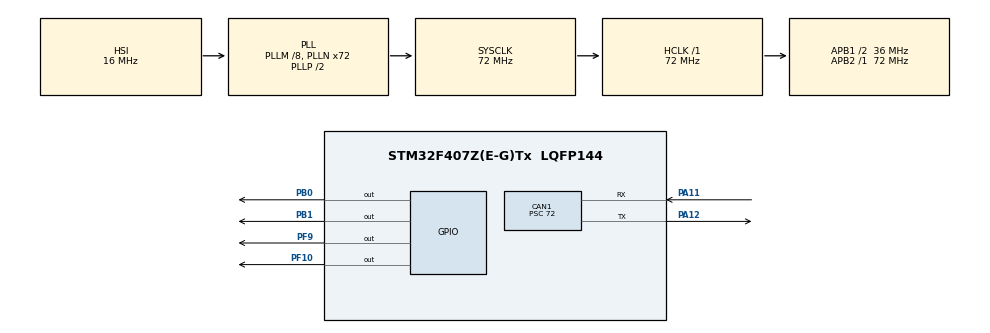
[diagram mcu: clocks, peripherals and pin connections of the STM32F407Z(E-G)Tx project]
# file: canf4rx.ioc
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CAN1.BS1=CAN_BS1_2TQ
CAN1.CalculateBaudRate=125000
CAN1.CalculateTimeBit=8000
CAN1.CalculateTimeQuantum=2000.0
CAN1.Prescaler=72
Mcu.Family=STM32F4
Mcu.Name=STM32F407Z(E-G)Tx
Mcu.Package=LQFP144
NVIC.CAN1_RX1_IRQn=true\:0\:0\:false\:false\:true\:true\:true\:true
NVIC.PriorityGroup=NVIC_PRIORITYGROUP_4
PA11.Mode=CAN_Activate
PA11.Signal=CAN1_RX
PA12.Mode=CAN_Activate
PA12.Signal=CAN1_TX
PA13.Mode=Serial_Wire
PA13.Signal=SYS_JTMS-SWDIO
PA14.Mode=Serial_Wire
PA14.Signal=SYS_JTCK-SWCLK
PB0.Signal=GPIO_Output
PB1.Signal=GPIO_Output
PF10.Signal=GPIO_Output
PF9.Signal=GPIO_Output
PH0-OSC_IN.Mode=HSE-External-Oscillator
PH0-OSC_IN.Signal=RCC_OSC_IN
PH1-OSC_OUT.Mode=HSE-External-Oscillator
PH1-OSC_OUT.Signal=RCC_OSC_OUT
ProjectManager.HeapSize=0x200
ProjectManager.StackSize=0x400
ProjectManager.TargetToolchain=STM32CubeIDE
RCC.48MHZClocksFreq_Value=36000000
RCC.AHBFreq_Value=72000000
RCC.APB1CLKDivider=RCC_HCLK_DIV2
RCC.APB1Freq_Value=36000000
RCC.APB1TimFreq_Value=72000000
RCC.APB2Freq_Value=72000000
RCC.APB2TimFreq_Value=72000000
RCC.CortexFreq_Value=72000000
RCC.HCLKFreq_Value=72000000
RCC.HSE_VALUE=25000000
RCC.HSI_VALUE=16000000
RCC.LSE_VALUE=32768
RCC.PLLM=8
RCC.PLLN=72
RCC.SYSCLKFreq_VALUE=72000000
RCC.SYSCLKSource=RCC_SYSCLKSOURCE_PLLCLK
RCC.VCOOutputFreq_Value=144000000
board=custom

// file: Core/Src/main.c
/* USER CODE BEGIN Header */
/**
  ******************************************************************************
  * @file           : main.c
  * @brief          : Main program body
  ******************************************************************************
  * @attention
  *
  * Copyright (c) 2024 STMicroelectronics.
  * All rights reserved.
  *
  * This software is licensed under terms that can be found in the LICENSE file
  * in the root directory of this software component.
  * If no LICENSE file comes with this software, it is provided AS-IS.
  *
  ******************************************************************************
  */
/* USER CODE END Header */
#include "main.h"

CAN_HandleTypeDef hcan1;

void SystemClock_Config(void);
static void MX_GPIO_Init(void);
static void MX_CAN1_Init(void);

/* USER CODE BEGIN 0 */
CAN_FilterTypeDef sFilterConfig;
CAN_RxHeaderTypeDef RxHeader;
uint8_t RxData[8];
uint8_t delayLED;
void HAL_CAN_RxFifo1MsgPendingCallback(CAN_HandleTypeDef *hcan)
{
  HAL_CAN_GetRxMessage(hcan, CAN_RX_FIFO1, &RxHeader, RxData);
  delayLED = RxData[7];
}
/* USER CODE END 0 */

int main(void)
{

  /* MCU Configuration--------------------------------------------------------*/

  /* Reset of all peripherals, Initializes the Flash interface and the Systick. */
  HAL_Init();

  /* Configure the system clock */
  SystemClock_Config();

  /* Initialize all configured peripherals */
  MX_GPIO_Init();
  MX_CAN1_Init();
  /* USER CODE BEGIN 2 */
  HAL_CAN_Start(&hcan1);
  // Configure the filter
  sFilterConfig.FilterActivation = CAN_FILTER_ENABLE;
  sFilterConfig.FilterFIFOAssignment = CAN_FILTER_FIFO1;
  sFilterConfig.FilterMode = CAN_FILTERMODE_IDMASK;
  sFilterConfig.FilterIdHigh = 0x6A5<<5;
  sFilterConfig.FilterIdLow = 0;
  sFilterConfig.FilterMaskIdHigh = 0x7FF<<5; // SET 0 to unfilter
  sFilterConfig.FilterMaskIdLow = 0;
  sFilterConfig.FilterScale = CAN_FILTERSCALE_32BIT;
  HAL_CAN_ConfigFilter(&hcan1, &sFilterConfig);
  // Activate the notification
  HAL_CAN_ActivateNotification(&hcan1, CAN_IT_RX_FIFO1_MSG_PENDING);
  /* USER CODE END 2 */

  /* Infinite loop */
  /* USER CODE BEGIN WHILE */
  while (1)
  {
	    HAL_GPIO_TogglePin(GPIOB, GPIO_PIN_0);	//LED4
	    HAL_Delay(delayLED+100);
	    HAL_GPIO_TogglePin(GPIOB, GPIO_PIN_1);	//LED5
	    HAL_Delay(delayLED+100);
	    HAL_GPIO_TogglePin(GPIOF, GPIO_PIN_10);	//LED3
	    HAL_Delay(delayLED+100);
	    HAL_GPIO_TogglePin(GPIOF, GPIO_PIN_9);	//LED2
	    HAL_Delay(delayLED+100);
    /* USER CODE END WHILE */

  }
}

void SystemClock_Config(void)
{
  RCC_OscInitTypeDef RCC_OscInitStruct = {0};
  RCC_ClkInitTypeDef RCC_ClkInitStruct = {0};

  /** Configure the main internal regulator output voltage
  */
  __HAL_RCC_PWR_CLK_ENABLE();
  __HAL_PWR_VOLTAGESCALING_CONFIG(PWR_REGULATOR_VOLTAGE_SCALE1);

  /** Initializes the RCC Oscillators according to the specified parameters
  * in the RCC_OscInitTypeDef structure.
  */
  RCC_OscInitStruct.OscillatorType = RCC_OSCILLATORTYPE_HSI;
  RCC_OscInitStruct.HSIState = RCC_HSI_ON;
  RCC_OscInitStruct.HSICalibrationValue = RCC_HSICALIBRATION_DEFAULT;
  RCC_OscInitStruct.PLL.PLLState = RCC_PLL_ON;
  RCC_OscInitStruct.PLL.PLLSource = RCC_PLLSOURCE_HSI;
  RCC_OscInitStruct.PLL.PLLM = 8;
  RCC_OscInitStruct.PLL.PLLN = 72;
  RCC_OscInitStruct.PLL.PLLP = RCC_PLLP_DIV2;
  RCC_OscInitStruct.PLL.PLLQ = 4;
  if (HAL_RCC_OscConfig(&RCC_OscInitStruct) != HAL_OK)
  {
    Error_Handler();
  }

  /** Initializes the CPU, AHB and APB buses clocks
  */
  RCC_ClkInitStruct.ClockType = RCC_CLOCKTYPE_HCLK|RCC_CLOCKTYPE_SYSCLK
                              |RCC_CLOCKTYPE_PCLK1|RCC_CLOCKTYPE_PCLK2;
  RCC_ClkInitStruct.SYSCLKSource = RCC_SYSCLKSOURCE_PLLCLK;
  RCC_ClkInitStruct.AHBCLKDivider = RCC_SYSCLK_DIV1;
  RCC_ClkInitStruct.APB1CLKDivider = RCC_HCLK_DIV2;
  RCC_ClkInitStruct.APB2CLKDivider = RCC_HCLK_DIV1;

  if (HAL_RCC_ClockConfig(&RCC_ClkInitStruct, FLASH_LATENCY_2) != HAL_OK)
  {
    Error_Handler();
  }
}

static void MX_CAN1_Init(void)
{

  hcan1.Instance = CAN1;
  hcan1.Init.Prescaler = 72;
  hcan1.Init.Mode = CAN_MODE_NORMAL;
  hcan1.Init.SyncJumpWidth = CAN_SJW_1TQ;
  hcan1.Init.TimeSeg1 = CAN_BS1_2TQ;
  hcan1.Init.TimeSeg2 = CAN_BS2_1TQ;
  hcan1.Init.TimeTriggeredMode = DISABLE;
  hcan1.Init.AutoBusOff = DISABLE;
  hcan1.Init.AutoWakeUp = DISABLE;
  hcan1.Init.AutoRetransmission = DISABLE;
  hcan1.Init.ReceiveFifoLocked = DISABLE;
  hcan1.Init.TransmitFifoPriority = DISABLE;
  if (HAL_CAN_Init(&hcan1) != HAL_OK)
  {
    Error_Handler();
  }

}

static void MX_GPIO_Init(void)
{
  GPIO_InitTypeDef GPIO_InitStruct = {0};

  /* GPIO Ports Clock Enable */
  __HAL_RCC_GPIOF_CLK_ENABLE();
  __HAL_RCC_GPIOH_CLK_ENABLE();
  __HAL_RCC_GPIOB_CLK_ENABLE();
  __HAL_RCC_GPIOA_CLK_ENABLE();

  /*Configure GPIO pin Output Level */
  HAL_GPIO_WritePin(GPIOF, GPIO_PIN_9|GPIO_PIN_10, GPIO_PIN_RESET);

  /*Configure GPIO pin Output Level */
  HAL_GPIO_WritePin(GPIOB, GPIO_PIN_0|GPIO_PIN_1, GPIO_PIN_RESET);

  /*Configure GPIO pins : PF9 PF10 */
  GPIO_InitStruct.Pin = GPIO_PIN_9|GPIO_PIN_10;
  GPIO_InitStruct.Mode = GPIO_MODE_OUTPUT_PP;
  GPIO_InitStruct.Pull = GPIO_NOPULL;
  GPIO_InitStruct.Speed = GPIO_SPEED_FREQ_LOW;
  HAL_GPIO_Init(GPIOF, &GPIO_InitStruct);

  /*Configure GPIO pins : PB0 PB1 */
  GPIO_InitStruct.Pin = GPIO_PIN_0|GPIO_PIN_1;
  GPIO_InitStruct.Mode = GPIO_MODE_OUTPUT_PP;
  GPIO_InitStruct.Pull = GPIO_NOPULL;
  GPIO_InitStruct.Speed = GPIO_SPEED_FREQ_LOW;
  HAL_GPIO_Init(GPIOB, &GPIO_InitStruct);

}

void Error_Handler(void)
{
  __disable_irq();
  while (1)
  {
  }
}
